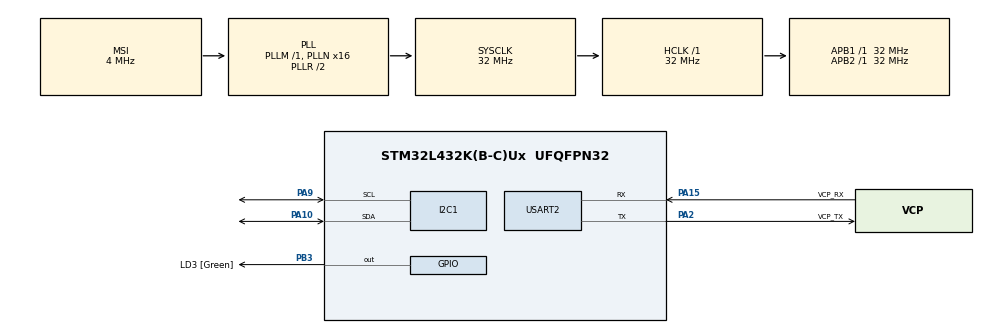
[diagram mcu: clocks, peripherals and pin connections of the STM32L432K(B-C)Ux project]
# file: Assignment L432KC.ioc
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I2C1.Timing=0x00707CBB
Mcu.Family=STM32L4
Mcu.Name=STM32L432K(B-C)Ux
Mcu.Package=UFQFPN32
NVIC.PriorityGroup=NVIC_PRIORITYGROUP_4
PA0.GPIO_Label=MCO [High speed clock in]
PA0.Mode=HSE-External-Clock-Source-for-LittleOrca
PA0.Signal=RCC_CK_IN
PA10.Mode=I2C
PA10.Signal=I2C1_SDA
PA13\ (JTMS-SWDIO).GPIO_Label=SWDIO
PA13\ (JTMS-SWDIO).Mode=Serial_Wire
PA13\ (JTMS-SWDIO).Signal=SYS_JTMS-SWDIO
PA14\ (JTCK-SWCLK).GPIO_Label=SWCLK
PA14\ (JTCK-SWCLK).Mode=Serial_Wire
PA14\ (JTCK-SWCLK).Signal=SYS_JTCK-SWCLK
PA15\ (JTDI).GPIO_Label=VCP_RX
PA15\ (JTDI).Mode=Asynchronous
PA15\ (JTDI).Signal=USART2_RX
PA2.GPIO_Label=VCP_TX
PA2.Mode=Asynchronous
PA2.Signal=USART2_TX
PA9.Mode=I2C
PA9.Signal=I2C1_SCL
PB3\ (JTDO-TRACESWO).GPIO_Label=LD3 [Green]
PB3\ (JTDO-TRACESWO).Signal=GPIO_Output
PC14-OSC32_IN\ (PC14).Mode=LSE-External-Oscillator
PC14-OSC32_IN\ (PC14).Signal=RCC_OSC32_IN
PC15-OSC32_OUT\ (PC15).Mode=LSE-External-Oscillator
PC15-OSC32_OUT\ (PC15).Signal=RCC_OSC32_OUT
ProjectManager.HeapSize=0x200
ProjectManager.StackSize=0x400
ProjectManager.TargetToolchain=STM32CubeIDE
RCC.AHBFreq_Value=32000000
RCC.APB1Freq_Value=32000000
RCC.APB1TimFreq_Value=32000000
RCC.APB2Freq_Value=32000000
RCC.APB2TimFreq_Value=32000000
RCC.CortexFreq_Value=32000000
RCC.HCLKFreq_Value=32000000
RCC.HSE_VALUE=8000000
RCC.HSI16_VALUE=16000000
RCC.HSI48_VALUE=48000000
RCC.HSI_VALUE=16000000
RCC.MSI_VALUE=4000000
RCC.PLLMUL=RCC_PLLMUL_4
RCC.PLLN=16
RCC.SYSCLKFreq_VALUE=32000000
RCC.SYSCLKSource=RCC_SYSCLKSOURCE_PLLCLK
RCC.VCOOutputFreq_Value=64000000
USART2.VirtualMode-Asynchronous=VM_ASYNC
board=NUCLEO-L432KC

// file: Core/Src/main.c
/* USER CODE BEGIN Header */
/**
  ******************************************************************************
  * @file           : main.c
  * @brief          : Main program body
  ******************************************************************************
  * @attention
  *
  * Copyright (c) 2023 STMicroelectronics.
  * All rights reserved.
  *
  * This software is licensed under terms that can be found in the LICENSE file
  * in the root directory of this software component.
  * If no LICENSE file comes with this software, it is provided AS-IS.
  *
  ******************************************************************************
  */
/* USER CODE END Header */
#include "main.h"

/* USER CODE BEGIN Includes */
#include <stdio.h>
#include <string.h>
#include "NanoEdgeAI.h"
#include "knowledge.h"

/* USER CODE END Includes */

/* USER CODE BEGIN PD */
#define LIS3DH_G_CHIP_ADDR (0x18 << 1)  // SA0(=SD0 pin) = Ground
#define LIS3DH_V_CHIP_ADDR (0x19 << 1)	//SA0(=SD0 pin) = Vdd
#define LIS3DH_WHO_AM_I	 0x0f
#define LIS3DH_CTRL_REG1 0x20
#define LIS3DH_CTRL_REG4 0x23
#define LIS3DH_OUT_X_L 0x28
#define BUFFER_SIZE     512
#define NB_AXES         3
#define CLASS_NUMBER	3

/* USER CODE END PD */

I2C_HandleTypeDef hi2c1;

UART_HandleTypeDef huart2;

void SystemClock_Config(void);
static void MX_GPIO_Init(void);
static void MX_USART2_UART_Init(void);
static void MX_I2C1_Init(void);

/* USER CODE BEGIN 0 */
uint8_t buf[32];
uint8_t res[64];
float x = 0;
float y = 0;
float z = 0;
float acc_buffer[1536]; //BUFFER_SIZE * NB_AXES
uint16_t id_class = 0; // Point to id class (see argument of neai_classification fct)
float output_class_buffer[CLASS_NUMBER]; // Buffer of class probabilities
const char *id2class[CLASS_NUMBER + 1] = { // Buffer for mapping class id to class name
	"unknown",
	"fan_turned_off",
	"speed_1",
	"speed_2",
};

/* USER CODE END 0 */

int main(void)
{

  /* MCU Configuration--------------------------------------------------------*/

  /* Reset of all peripherals, Initializes the Flash interface and the Systick. */
  HAL_Init();

  /* Configure the system clock */
  SystemClock_Config();

  /* Initialize all configured peripherals */
  MX_GPIO_Init();
  MX_USART2_UART_Init();
  MX_I2C1_Init();
  /* USER CODE BEGIN 2 */
  HAL_StatusTypeDef ret;

  // Testing on the functionality of the LIS3DH accelerometer
  buf[0] = LIS3DH_CTRL_REG1;
  buf[1] = 0x97;
  ret = HAL_I2C_Master_Transmit(&hi2c1, LIS3DH_V_CHIP_ADDR, buf, 2, HAL_MAX_DELAY);
  if ( ret != HAL_OK ) {
	  sprintf((char*)buf,"ErrorTx CTRL_REG1\n");
	  HAL_UART_Transmit(&huart2, buf, strlen(( char*)buf), HAL_MAX_DELAY);
  }

  buf[0] = LIS3DH_CTRL_REG4;
  buf[1] = 0x08;
  ret = HAL_I2C_Master_Transmit(&hi2c1, LIS3DH_V_CHIP_ADDR, buf, 2, HAL_MAX_DELAY);
  if ( ret != HAL_OK ) {
	  sprintf((char*)buf,"ErrorTx CTRL_REG4\n");
	  HAL_UART_Transmit(&huart2, buf, strlen(( char*)buf), HAL_MAX_DELAY);
  }

  /* USER CODE END 2 */

  /* Infinite loop */
  /* USER CODE BEGIN WHILE */
  while (1)
  {
	  // Device test to check the connectivity between STM32 and LIS3DH accelerometer
	  //	  buf[0] = LIS3DH_WHO_AM_I;
	  //	  ret = HAL_I2C_Master_Transmit(&hi2c2, LIS3DH_V_CHIP_ADDR, buf, 1, HAL_MAX_DELAY);	// Master send a read request to slave
	  //	  if (ret != HAL_OK)
	  //	  {																					// V = 0x19 = slave address of R/W
	  //	     sprintf((char*)buf,"ErrorTx WHO_AM_I");										// 1 = read 1 byte
	  //	     HAL_UART_Transmit(&huart2, buf, strlen((char*)buf), HAL_MAX_DELAY);
	  //	  }
	  //
	  //	  ret = HAL_I2C_Master_Receive(&hi2c2, LIS3DH_V_CHIP_ADDR, buf, 1, HAL_MAX_DELAY);	// Slave send their identity to master
	  //	  if (ret != HAL_OK){
	  //	     sprintf((char*)buf,"ErrorRx WHO_AM_I");
	  //	     HAL_UART_Transmit(&huart2, buf, strlen((char*)buf), HAL_MAX_DELAY);
	  //	  }
	  //	  sprintf((char*)buf,"ID: 0x%02X\r\n", buf[0]);										// Send value received on master to serial monitor
	  //	  HAL_UART_Transmit(&huart2, buf, strlen((char*)buf), HAL_MAX_DELAY);
	  //	  HAL_Delay(200);

	  // Data Logging
	  buf[0] = LIS3DH_OUT_X_L | 0x80;
	  for (uint16_t i = 0; i < BUFFER_SIZE; i++) {
		  if (HAL_I2C_IsDeviceReady(&hi2c1, LIS3DH_V_CHIP_ADDR, 3, 100) == 0) { // New data is available
			  buf[0] = LIS3DH_OUT_X_L | 0x80;
			  HAL_I2C_Master_Transmit(&hi2c1, LIS3DH_V_CHIP_ADDR, buf, 1, HAL_MAX_DELAY);
	    	  HAL_I2C_Master_Receive(&hi2c1, LIS3DH_V_CHIP_ADDR, buf, 6, HAL_MAX_DELAY);
	    	  x = buf[1] << 8 | buf[0];
	    	  y = buf[3] << 8 | buf[2];
	    	  z = buf[5] << 8 | buf[4];
	          acc_buffer[NB_AXES * i] = x;
	          acc_buffer[(NB_AXES * i) + 1] = y;
	          acc_buffer[(NB_AXES * i) + 2] = z;
		  } else {
	    	  i--; // New data not ready
	      }
	   }

	  // Print sample data onto serial monitor @ capture sample data for AI classification
	  //	  for (uint16_t isample = 0; isample < NB_AXES * BUFFER_SIZE - 1; isample++)
	  //	  {
	  //	  	  sprintf((char*)buf, "%d ", acc_buffer[isample]);
	  //	  	  HAL_UART_Transmit(&huart2, buf, strlen((char*)buf), HAL_MAX_DELAY);
	  //	  }
	  //	  sprintf((char*)buf, "%d\n", acc_buffer[NB_AXES * BUFFER_SIZE] -1);
	  //	  HAL_UART_Transmit(&huart2, buf, strlen((char*)buf), HAL_MAX_DELAY);

	  /* Initialization ------------------------------------------------------------*/
	  // Initialization for the AI classification model with "knowledge" sample data
	  enum neai_state error_code = neai_classification_init(knowledge);
	  // if the knowledge does not correspond to the library or if the library works into a not supported board.
	  if (error_code != NEAI_OK) {
		  sprintf((char*)buf, "ErrorTx NanoEdge AI\n");
		  HAL_UART_Transmit(&huart2, buf, strlen((char*)buf), HAL_MAX_DELAY);
	  }

	  /* Classification ------------------------------------------------------------*/
	  // Classification for the input signal and get a class id as output
	  neai_classification(acc_buffer, output_class_buffer, &id_class);

	  // Result (the name of the class and the associated certainty %) being printed onto serial monitor
	  sprintf((char*)res, "Class detected: %s (Certainty: %d%%)\n", id2class[id_class], (uint16_t) (output_class_buffer[id_class - 1] * 100));
	  HAL_UART_Transmit(&huart2, res, strlen((char*)res), HAL_MAX_DELAY);
	  HAL_Delay(10);

    /* USER CODE END WHILE */

  }
}

void SystemClock_Config(void)
{
  RCC_OscInitTypeDef RCC_OscInitStruct = {0};
  RCC_ClkInitTypeDef RCC_ClkInitStruct = {0};

  /** Configure the main internal regulator output voltage
  */
  if (HAL_PWREx_ControlVoltageScaling(PWR_REGULATOR_VOLTAGE_SCALE1) != HAL_OK)
  {
    Error_Handler();
  }

  /** Configure LSE Drive Capability
  */
  HAL_PWR_EnableBkUpAccess();
  __HAL_RCC_LSEDRIVE_CONFIG(RCC_LSEDRIVE_LOW);

  /** Initializes the RCC Oscillators according to the specified parameters
  * in the RCC_OscInitTypeDef structure.
  */
  RCC_OscInitStruct.OscillatorType = RCC_OSCILLATORTYPE_LSE|RCC_OSCILLATORTYPE_MSI;
  RCC_OscInitStruct.LSEState = RCC_LSE_ON;
  RCC_OscInitStruct.MSIState = RCC_MSI_ON;
  RCC_OscInitStruct.MSICalibrationValue = 0;
  RCC_OscInitStruct.MSIClockRange = RCC_MSIRANGE_6;
  RCC_OscInitStruct.PLL.PLLState = RCC_PLL_ON;
  RCC_OscInitStruct.PLL.PLLSource = RCC_PLLSOURCE_MSI;
  RCC_OscInitStruct.PLL.PLLM = 1;
  RCC_OscInitStruct.PLL.PLLN = 16;
  RCC_OscInitStruct.PLL.PLLP = RCC_PLLP_DIV7;
  RCC_OscInitStruct.PLL.PLLQ = RCC_PLLQ_DIV2;
  RCC_OscInitStruct.PLL.PLLR = RCC_PLLR_DIV2;
  if (HAL_RCC_OscConfig(&RCC_OscInitStruct) != HAL_OK)
  {
    Error_Handler();
  }

  /** Initializes the CPU, AHB and APB buses clocks
  */
  RCC_ClkInitStruct.ClockType = RCC_CLOCKTYPE_HCLK|RCC_CLOCKTYPE_SYSCLK
                              |RCC_CLOCKTYPE_PCLK1|RCC_CLOCKTYPE_PCLK2;
  RCC_ClkInitStruct.SYSCLKSource = RCC_SYSCLKSOURCE_PLLCLK;
  RCC_ClkInitStruct.AHBCLKDivider = RCC_SYSCLK_DIV1;
  RCC_ClkInitStruct.APB1CLKDivider = RCC_HCLK_DIV1;
  RCC_ClkInitStruct.APB2CLKDivider = RCC_HCLK_DIV1;

  if (HAL_RCC_ClockConfig(&RCC_ClkInitStruct, FLASH_LATENCY_1) != HAL_OK)
  {
    Error_Handler();
  }

  /** Enable MSI Auto calibration
  */
  HAL_RCCEx_EnableMSIPLLMode();
}

static void MX_I2C1_Init(void)
{

  hi2c1.Instance = I2C1;
  hi2c1.Init.Timing = 0x00707CBB;
  hi2c1.Init.OwnAddress1 = 0;
  hi2c1.Init.AddressingMode = I2C_ADDRESSINGMODE_7BIT;
  hi2c1.Init.DualAddressMode = I2C_DUALADDRESS_DISABLE;
  hi2c1.Init.OwnAddress2 = 0;
  hi2c1.Init.OwnAddress2Masks = I2C_OA2_NOMASK;
  hi2c1.Init.GeneralCallMode = I2C_GENERALCALL_DISABLE;
  hi2c1.Init.NoStretchMode = I2C_NOSTRETCH_DISABLE;
  if (HAL_I2C_Init(&hi2c1) != HAL_OK)
  {
    Error_Handler();
  }

  /** Configure Analogue filter
  */
  if (HAL_I2CEx_ConfigAnalogFilter(&hi2c1, I2C_ANALOGFILTER_ENABLE) != HAL_OK)
  {
    Error_Handler();
  }

  /** Configure Digital filter
  */
  if (HAL_I2CEx_ConfigDigitalFilter(&hi2c1, 0) != HAL_OK)
  {
    Error_Handler();
  }

}

static void MX_USART2_UART_Init(void)
{

  huart2.Instance = USART2;
  huart2.Init.BaudRate = 115200;
  huart2.Init.WordLength = UART_WORDLENGTH_8B;
  huart2.Init.StopBits = UART_STOPBITS_1;
  huart2.Init.Parity = UART_PARITY_NONE;
  huart2.Init.Mode = UART_MODE_TX_RX;
  huart2.Init.HwFlowCtl = UART_HWCONTROL_NONE;
  huart2.Init.OverSampling = UART_OVERSAMPLING_16;
  huart2.Init.OneBitSampling = UART_ONE_BIT_SAMPLE_DISABLE;
  huart2.AdvancedInit.AdvFeatureInit = UART_ADVFEATURE_NO_INIT;
  if (HAL_UART_Init(&huart2) != HAL_OK)
  {
    Error_Handler();
  }

}

static void MX_GPIO_Init(void)
{
  GPIO_InitTypeDef GPIO_InitStruct = {0};

  /* GPIO Ports Clock Enable */
  __HAL_RCC_GPIOC_CLK_ENABLE();
  __HAL_RCC_GPIOA_CLK_ENABLE();
  __HAL_RCC_GPIOB_CLK_ENABLE();

  /*Configure GPIO pin Output Level */
  HAL_GPIO_WritePin(LD3_GPIO_Port, LD3_Pin, GPIO_PIN_RESET);

  /*Configure GPIO pin : LD3_Pin */
  GPIO_InitStruct.Pin = LD3_Pin;
  GPIO_InitStruct.Mode = GPIO_MODE_OUTPUT_PP;
  GPIO_InitStruct.Pull = GPIO_NOPULL;
  GPIO_InitStruct.Speed = GPIO_SPEED_FREQ_LOW;
  HAL_GPIO_Init(LD3_GPIO_Port, &GPIO_InitStruct);

}

void Error_Handler(void)
{
  __disable_irq();
  while (1)
  {
  }
}
